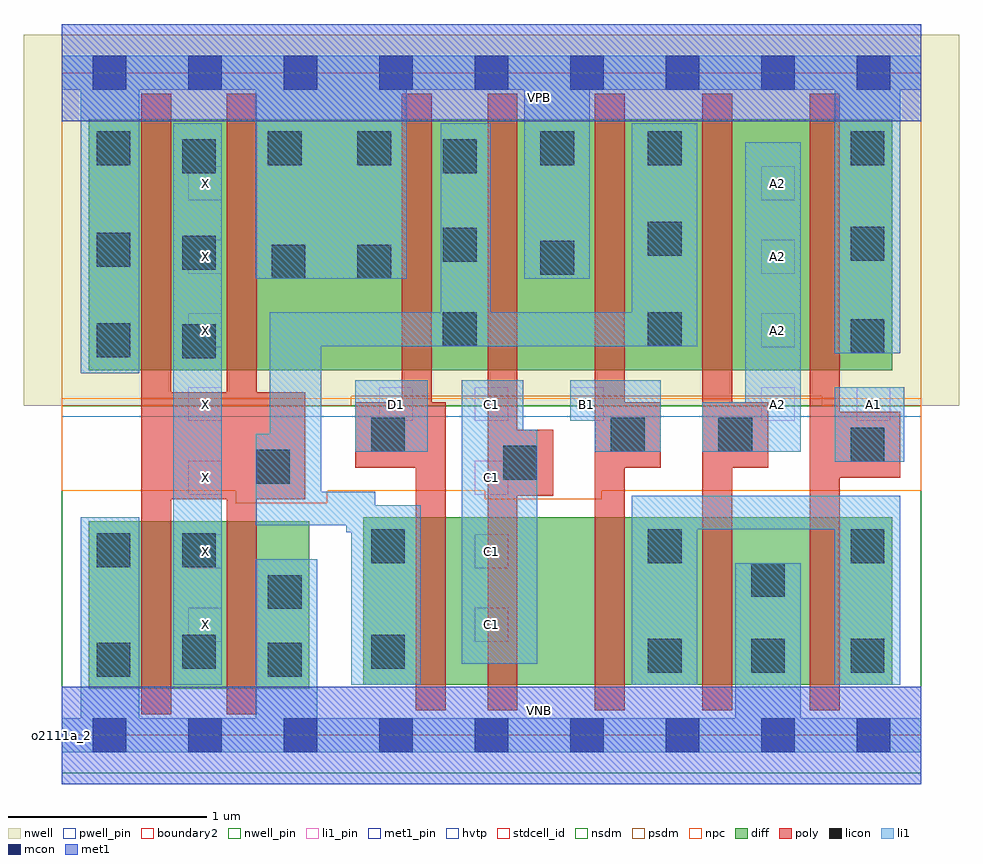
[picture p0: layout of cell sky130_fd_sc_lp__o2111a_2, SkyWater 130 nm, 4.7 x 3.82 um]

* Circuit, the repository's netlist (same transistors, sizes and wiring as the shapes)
* Copyright 2020 The SkyWater PDK Authors
*
* Licensed under the Apache License, Version 2.0 (the "License");
* you may not use this file except in compliance with the License.
* You may obtain a copy of the License at
*
*     https://www.apache.org/licenses/LICENSE-2.0
*
* Unless required by applicable law or agreed to in writing, software
* distributed under the License is distributed on an "AS IS" BASIS,
* WITHOUT WARRANTIES OR CONDITIONS OF ANY KIND, either express or implied.
* See the License for the specific language governing permissions and
* limitations under the License.
*
* SPDX-License-Identifier: Apache-2.0

.SUBCKT sky130_fd_sc_lp__o2111a_2 A1 A2 B1 C1 D1 VGND VNB VPB VPWR X
*.PININFO A1:I A2:I B1:I C1:I D1:I VGND:I VNB:I VPB:I VPWR:I X:O
MMPA0 VPWR A1 sndA1 VPB sky130_fd_pr__pfet_01v8_hvt m=1 w=1.26U l=0.15U mult=1
+ sa=0.265 sb=0.265 sd=0.28 area=0.063 perim=1.14
MMPA1 sndA1 A2 y VPB sky130_fd_pr__pfet_01v8_hvt m=1 w=1.26U l=0.15U mult=1 sa=0.265
+ sb=0.265 sd=0.28 area=0.063 perim=1.14
MMPB0 VPWR B1 y VPB sky130_fd_pr__pfet_01v8_hvt m=1 w=1.26U l=0.15U mult=1 sa=0.265
+ sb=0.265 sd=0.28 area=0.063 perim=1.14
MMPC0 VPWR C1 y VPB sky130_fd_pr__pfet_01v8_hvt m=1 w=1.26U l=0.15U mult=1 sa=0.265
+ sb=0.265 sd=0.28 area=0.063 perim=1.14
MMPD0 VPWR D1 y VPB sky130_fd_pr__pfet_01v8_hvt m=1 w=1.26U l=0.15U mult=1 sa=0.265
+ sb=0.265 sd=0.28 area=0.063 perim=1.14
MMIPX X y VPWR VPB sky130_fd_pr__pfet_01v8_hvt m=2 w=1.26U l=0.15U mult=1 sa=0.265
+ sb=0.265 sd=0.28 area=0.063 perim=1.14
MMNA0 pndA A1 VGND VNB sky130_fd_pr__nfet_01v8 m=1 w=0.84U l=0.15U mult=1 sa=0.265
+ sb=0.265 sd=0.28 area=0.063 perim=1.14
MMNA1 pndA A2 VGND VNB sky130_fd_pr__nfet_01v8 m=1 w=0.84U l=0.15U mult=1 sa=0.265
+ sb=0.265 sd=0.28 area=0.063 perim=1.14
MMNB0 pndB B1 pndA VNB sky130_fd_pr__nfet_01v8 m=1 w=0.84U l=0.15U mult=1 sa=0.265
+ sb=0.265 sd=0.28 area=0.063 perim=1.14
MMNC0 pndC C1 pndB VNB sky130_fd_pr__nfet_01v8 m=1 w=0.84U l=0.15U mult=1 sa=0.265
+ sb=0.265 sd=0.28 area=0.063 perim=1.14
MMND0 y D1 pndC VNB sky130_fd_pr__nfet_01v8 m=1 w=0.84U l=0.15U mult=1 sa=0.265
+ sb=0.265 sd=0.28 area=0.063 perim=1.14
MMINX X y VGND VNB sky130_fd_pr__nfet_01v8 m=2 w=0.84U l=0.15U mult=1 sa=0.265
+ sb=0.265 sd=0.28 area=0.063 perim=1.14
.ENDS sky130_fd_sc_lp__o2111a_2

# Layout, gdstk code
import gdstk
lib = gdstk.Library(unit=1e-6, precision=1e-09)
def R(c, l, rs):  # rectangles x0, y0, x1, y1
    for r in rs: c.add(gdstk.rectangle(r[:2], r[2:], *l))
def A(c, l, x, y, w, h, nx, ny, dx, dy):  # array of equal rectangles
    R(c, l, [(x+i*dx, y+j*dy, x+i*dx+w, y+j*dy+h) for i in range(nx) for j in range(ny)])
def P(c, l, *ps):  # polygons
    for p in ps: c.add(gdstk.Polygon(p, *l))
nwell_pin = (64, 16)
nwell = (64, 20)
diff = (65, 20)
poly = (66, 20)
licon = (66, 44)
li1_pin = (67, 16)
li1 = (67, 20)
mcon = (67, 44)
met1_pin = (68, 16)
met1 = (68, 20)
hvtp = (78, 44)
stdcell_id = (81, 4)
nsdm = (93, 44)
psdm = (94, 20)
npc = (95, 20)
pwell_pin = (122, 16)
boundary2 = (236, 0)

sky130_fd_sc_lp__o2111a_ = lib.new_cell('sky130_fd_sc_lp__o2111a_2')
R(sky130_fd_sc_lp__o2111a_, nwell_pin, [(0,3.085,4.32,3.33)])
R(sky130_fd_sc_lp__o2111a_, nwell, [(-0.19,1.655,4.51,3.52)])
R(sky130_fd_sc_lp__o2111a_, diff, [(0.135,0.235,1.245,1.075), (1.515,0.255,4.175,1.095), (0.135,1.835,4.175,3.095)])
P(sky130_fd_sc_lp__o2111a_, poly, [(1.225,1.725),(0.98,1.725),(0.98,3.225),(0.83,3.225),(0.83,1.725),(0.55,1.725),(0.55,3.225),(0.4,3.225),(0.4,0.105),(0.55,0.105),(0.55,1.185),(0.83,1.185),(0.83,0.105),(0.98,0.105),(0.98,1.185),(1.225,1.185)],
  [(1.93,1.675),(1.86,1.675),(1.86,3.225),(1.71,3.225),(1.71,1.675),(1.475,1.675),(1.475,1.345),(1.78,1.345),(1.78,0.125),(1.93,0.125)],
  [(2.47,1.535),(2.29,1.535),(2.29,3.225),(2.14,3.225),(2.14,0.125),(2.29,0.125),(2.29,1.205),(2.47,1.205)],
  [(3.01,1.675),(2.83,1.675),(2.83,3.225),(2.68,3.225),(2.68,0.125),(2.83,0.125),(2.83,1.345),(3.01,1.345)],
  [(3.55,1.675),(3.37,1.675),(3.37,3.225),(3.22,3.225),(3.22,0.125),(3.37,0.125),(3.37,1.345),(3.55,1.345)],
  [(4.215,1.625),(3.91,1.625),(3.91,3.225),(3.76,3.225),(3.76,0.125),(3.91,0.125),(3.91,1.295),(4.215,1.295)])
A(sky130_fd_sc_lp__o2111a_, licon, 2.945, 1.955, 0.17, 0.17, 1, 3, 0, 0.455)
R(sky130_fd_sc_lp__o2111a_, licon, [(0.175,0.295,0.345,0.465), (1.035,0.295,1.205,0.465), (2.945,0.315,3.115,0.485), (3.465,0.315,3.635,0.485), (3.965,0.315,4.135,0.485), (0.605,0.335,0.775,0.505), (1.555,0.335,1.725,0.505), (1.035,0.635,1.205,0.805), (3.465,0.695,3.635,0.865), (0.175,0.845,0.345,1.015), (0.605,0.845,0.775,1.015), (1.555,0.865,1.725,1.035), (2.945,0.865,3.115,1.035), (3.965,0.865,4.135,1.035), (0.975,1.265,1.145,1.435), (2.22,1.285,2.39,1.455), (3.965,1.375,4.135,1.545), (1.555,1.425,1.725,1.595), (2.76,1.425,2.93,1.595), (3.3,1.425,3.47,1.595), (0.605,1.895,0.775,2.065), (0.175,1.9,0.345,2.07), (3.965,1.92,4.135,2.09), (1.915,1.955,2.085,2.125), (1.055,2.295,1.225,2.465), (1.485,2.295,1.655,2.465), (2.405,2.315,2.575,2.485), (0.605,2.34,0.775,2.51), (0.175,2.355,0.345,2.525), (1.915,2.38,2.085,2.55), (3.965,2.385,4.135,2.555), (0.605,2.825,0.775,2.995), (1.915,2.825,2.085,2.995), (0.175,2.865,0.345,3.035), (1.035,2.865,1.205,3.035), (1.485,2.865,1.655,3.035), (2.405,2.865,2.575,3.035), (3.965,2.865,4.135,3.035)])
A(sky130_fd_sc_lp__o2111a_, li1_pin, 0.635, 0.47, 0.17, 0.17, 1, 7, 0, 0.37)
A(sky130_fd_sc_lp__o2111a_, li1_pin, 2.075, 0.47, 0.17, 0.17, 1, 3, 0, 0.37)
A(sky130_fd_sc_lp__o2111a_, li1_pin, 1.595, 1.58, 0.17, 0.17, 3, 1, 0.48, 0)
A(sky130_fd_sc_lp__o2111a_, li1_pin, 3.515, 1.58, 0.17, 0.17, 1, 4, 0, 0.37)
R(sky130_fd_sc_lp__o2111a_, li1_pin, [(3.995,1.58,4.165,1.75)])
R(sky130_fd_sc_lp__o2111a_, li1, [(0.56,0.255,0.805,3.075), (3.885,1.375,4.235,1.75), (1.475,1.425,1.84,1.785)])
P(sky130_fd_sc_lp__o2111a_, li1, [(3.885,1.92),(3.885,3.245),(2.655,3.245),(2.655,2.295),(2.325,2.295),(2.325,3.245),(1.735,3.245),(1.735,2.295),(0.975,2.295),(0.975,3.245),(0.39,3.245),(0.39,1.82),(0.095,1.82),(0.095,3.245),(0,3.245),(0,3.415),(4.32,3.415),(4.32,3.245),(4.215,3.245),(4.215,1.92)],
  [(0.975,0.085),(0.975,0.885),(1.285,0.885),(1.285,0.085),(3.385,0.085),(3.385,0.865),(3.715,0.865),(3.715,0.085),(4.32,0.085),(4.32,-0.085),(0,-0.085),(0,0.085),(0.095,0.085),(0.095,1.095),(0.39,1.095),(0.39,0.085)],
  [(3.715,2.98),(3.435,2.98),(3.435,1.675),(3.22,1.675),(3.22,1.425),(3.715,1.425)],
  [(3.01,1.785),(2.555,1.785),(2.555,1.58),(2.68,1.58),(2.68,1.425),(3.01,1.425)],
  [(2.39,1.535),(2.32,1.535),(2.32,1.785),(2.01,1.785),(2.01,0.36),(2.39,0.36)],
  [(3.885,1.035),(3.195,1.035),(3.195,0.255),(2.865,0.255),(2.865,1.205),(4.215,1.205),(4.215,0.255),(3.885,0.255)],
  [(3.195,3.075),(2.865,3.075),(2.865,2.125),(2.155,2.125),(2.155,3.075),(1.905,3.075),(1.905,2.125),(1.045,2.125),(1.045,1.515),(0.975,1.515),(0.975,1.055),(1.43,1.055),(1.43,1.02),(1.455,1.02),(1.455,0.255),(1.805,0.255),(1.805,1.155),(1.575,1.155),(1.575,1.225),(1.305,1.225),(1.305,1.955),(3.195,1.955)])
A(sky130_fd_sc_lp__o2111a_, mcon, 0.155, -0.085, 0.17, 0.17, 9, 2, 0.48, 3.33)
R(sky130_fd_sc_lp__o2111a_, met1_pin, [(0,0,4.32,0.245), (0,3.085,4.32,3.33)])
R(sky130_fd_sc_lp__o2111a_, met1, [(0,-0.245,4.32,0.245), (0,3.085,4.32,3.575)])
R(sky130_fd_sc_lp__o2111a_, hvtp, [(0,1.6,4.32,3.33)])
R(sky130_fd_sc_lp__o2111a_, stdcell_id, [(0,0,4.32,3.33)])
R(sky130_fd_sc_lp__o2111a_, nsdm, [(0,-0.19,4.32,1.655)])
P(sky130_fd_sc_lp__o2111a_, psdm, [(4.32,3.52),(0,3.52),(0,1.655),(1.455,1.655),(1.455,1.705),(3.82,1.705),(3.82,1.655),(4.32,1.655)])
P(sky130_fd_sc_lp__o2111a_, npc, [(4.32,1.695),(0,1.695),(0,1.23),(0.875,1.23),(0.875,1.165),(1.335,1.165),(1.335,1.23),(2.125,1.23),(2.125,1.185),(2.715,1.185),(2.715,1.23),(4.32,1.23)])
R(sky130_fd_sc_lp__o2111a_, pwell_pin, [(0,0,4.32,0.245)])
R(sky130_fd_sc_lp__o2111a_, boundary2, [(0,0,4.32,3.33)])
sky130_fd_sc_lp__o2111a_.add(gdstk.Label('VNB', (2.4,0.123), layer=64, texttype=59))
sky130_fd_sc_lp__o2111a_.add(gdstk.Label('VPB', (2.4,3.208), layer=64, texttype=5))
sky130_fd_sc_lp__o2111a_.add(gdstk.Label('o2111a_2', (0,0), layer=83, texttype=44))
sky130_fd_sc_lp__o2111a_.add(gdstk.Label('VPWR', (2.4,3.208), layer=68, texttype=5))
sky130_fd_sc_lp__o2111a_.add(gdstk.Label('VGND', (2.4,0.123), layer=68, texttype=5))
sky130_fd_sc_lp__o2111a_.add(gdstk.Label('X', (0.72,0.555), layer=67, texttype=5))
sky130_fd_sc_lp__o2111a_.add(gdstk.Label('X', (0.72,0.925), layer=67, texttype=5))
sky130_fd_sc_lp__o2111a_.add(gdstk.Label('X', (0.72,1.295), layer=67, texttype=5))
sky130_fd_sc_lp__o2111a_.add(gdstk.Label('X', (0.72,1.665), layer=67, texttype=5))
sky130_fd_sc_lp__o2111a_.add(gdstk.Label('X', (0.72,2.035), layer=67, texttype=5))
sky130_fd_sc_lp__o2111a_.add(gdstk.Label('X', (0.72,2.405), layer=67, texttype=5))
sky130_fd_sc_lp__o2111a_.add(gdstk.Label('X', (0.72,2.775), layer=67, texttype=5))
sky130_fd_sc_lp__o2111a_.add(gdstk.Label('A1', (4.08,1.665), layer=67, texttype=5))
sky130_fd_sc_lp__o2111a_.add(gdstk.Label('A2', (3.6,1.665), layer=67, texttype=5))
sky130_fd_sc_lp__o2111a_.add(gdstk.Label('A2', (3.6,2.035), layer=67, texttype=5))
sky130_fd_sc_lp__o2111a_.add(gdstk.Label('A2', (3.6,2.405), layer=67, texttype=5))
sky130_fd_sc_lp__o2111a_.add(gdstk.Label('A2', (3.6,2.775), layer=67, texttype=5))
sky130_fd_sc_lp__o2111a_.add(gdstk.Label('C1', (2.16,0.555), layer=67, texttype=5))
sky130_fd_sc_lp__o2111a_.add(gdstk.Label('C1', (2.16,0.925), layer=67, texttype=5))
sky130_fd_sc_lp__o2111a_.add(gdstk.Label('C1', (2.16,1.295), layer=67, texttype=5))
sky130_fd_sc_lp__o2111a_.add(gdstk.Label('C1', (2.16,1.665), layer=67, texttype=5))
sky130_fd_sc_lp__o2111a_.add(gdstk.Label('B1', (2.64,1.665), layer=67, texttype=5))
sky130_fd_sc_lp__o2111a_.add(gdstk.Label('D1', (1.68,1.665), layer=67, texttype=5))

lib.write_gds('sky130_fd_sc_lp__o2111a_2.gds')
